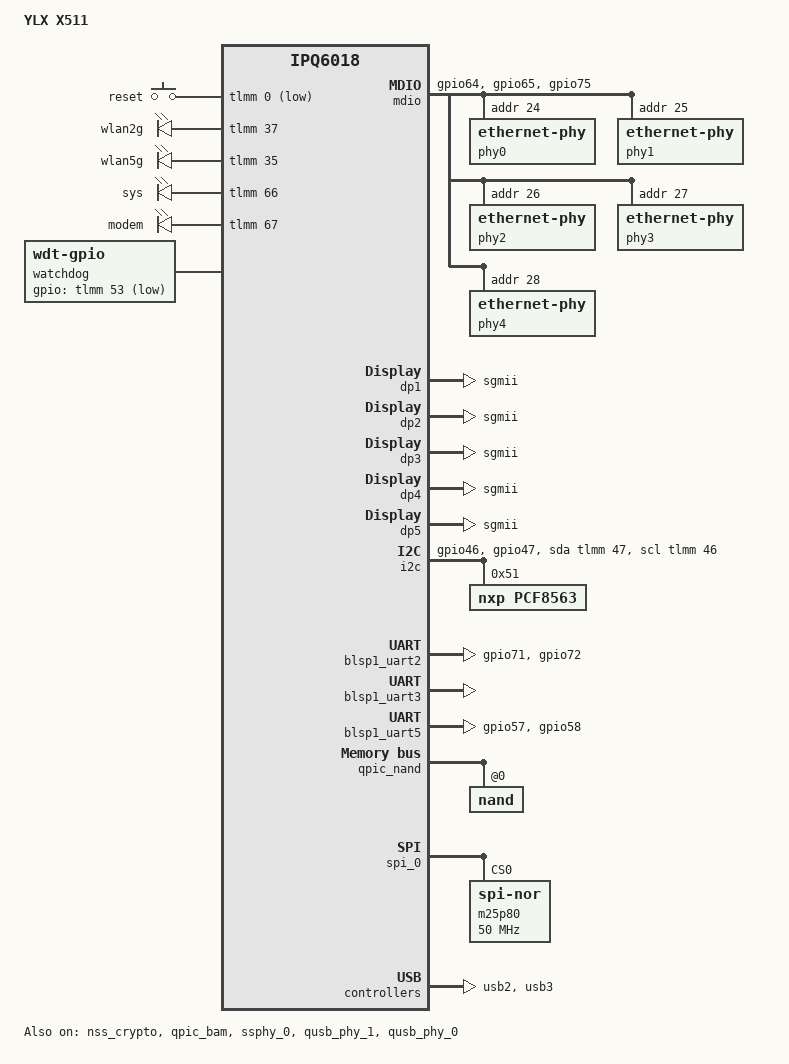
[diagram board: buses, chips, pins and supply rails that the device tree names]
// SPDX-License-Identifier: GPL-2.0-only
/* Copyright (c) 2020 The Linux Foundation. All rights reserved.
 */

/dts-v1/;

#include "ipq6018.dtsi"
#include <dt-bindings/input/input.h>

/ {
	#address-cells = <0x2>;
	#size-cells = <0x2>;
	model = "YLX X511";
	compatible = "ylx,x511", "qcom,ipq6018";
	interrupt-parent = <&intc>;
	qcom,msm-id = <0x1A5 0x0>;

	aliases {
		led-boot = &led_sys;
		led-failsafe = &led_sys;
		led-running = &led_sys;
		led-upgrade = &led_sys;
		serial0 = &blsp1_uart3;
		serial1 = &blsp1_uart2;
		serial2 = &blsp1_uart5;

		ethernet0 = "/soc/dp1";
		ethernet1 = "/soc/dp2";
		ethernet2 = "/soc/dp3";
		ethernet3 = "/soc/dp4";
		ethernet4 = "/soc/dp5";
	};

	chosen {
		stdout-path = "serial0:115200n8";
		bootargs-append = " root=/dev/ubiblock0_1 swiotlb=1 coherent_pool=2M";
	};

	soc {
		mdio:mdio@90000 {
			pinctrl-0 = <&mdio_pins>;
			pinctrl-names = "default";
			phy-reset-gpio = <&tlmm 75 0>;
			status = "ok";

			phy0: ethernet-phy@0 {
				reg = <24>;
			};
			phy1: ethernet-phy@1 {
				reg = <25>;
			};
			phy2: ethernet-phy@2 {
				reg = <26>;
			};
			phy3: ethernet-phy@3 {
				reg = <27>;
			};
			phy4: ethernet-phy@4 {
				reg = <28>;
			};
		};

		ess-switch@3a000000 {
			switch_cpu_bmp = <0x1>;  /* cpu port bitmap */
			switch_lan_bmp = <0x1e>; /* lan port bitmap */
			switch_wan_bmp = <0x20>; /* wan port bitmap */
			switch_inner_bmp = <0xc0>; /*inner port bitmap*/
			switch_mac_mode = <0x0>; /* mac mode for uniphy 0*/
			switch_mac_mode1 = <0xff>; /* mac mode for uniphy 1*/
			switch_mac_mode2 = <0xff>; /* mac mode for uniphy 2*/

			qcom,port_phyinfo {
				port@0 {
					port_id = <1>;
					phy_address = <24>;
				};
				port@1 {
					port_id = <2>;
					phy_address = <25>;
				};
				port@2 {
					port_id = <3>;
					phy_address = <26>;
				};
				port@3 {
					port_id = <4>;
					phy_address = <27>;
				};
				port@4 {
					port_id = <5>;
					phy_address = <28>;
				};
			};
		};

		dp1 {
			device_type = "network";
			compatible = "qcom,nss-dp";
			qcom,id = <1>;
			reg = <0x3a001000 0x200>;
			qcom,mactype = <0>;
			local-mac-address = [000000000000];
			qcom,link-poll = <1>;
			qcom,phy-mdio-addr = <24>;
			phy-mode = "sgmii";
		};

		dp2 {
			device_type = "network";
			compatible = "qcom,nss-dp";
			qcom,id = <2>;
			reg = <0x3a001200 0x200>;
			qcom,mactype = <0>;
			local-mac-address = [000000000000];
			qcom,link-poll = <1>;
			qcom,phy-mdio-addr = <25>;
			phy-mode = "sgmii";
		};

		dp3 {
			device_type = "network";
			compatible = "qcom,nss-dp";
			qcom,id = <3>;
			reg = <0x3a001400 0x200>;
			qcom,mactype = <0>;
			local-mac-address = [000000000000];
			qcom,link-poll = <1>;
			qcom,phy-mdio-addr = <26>;
			phy-mode = "sgmii";
		};

		dp4 {
			device_type = "network";
			compatible = "qcom,nss-dp";
			qcom,id = <4>;
			reg = <0x3a001600 0x200>;
			qcom,mactype = <0>;
			local-mac-address = [000000000000];
			qcom,link-poll = <1>;
			qcom,phy-mdio-addr = <27>;
			phy-mode = "sgmii";
		};

		dp5 {
			device_type = "network";
			compatible = "qcom,nss-dp";
			qcom,id = <5>;
			reg = <0x3a001800 0x200>;
			qcom,mactype = <0>;
			local-mac-address = [000000000000];
			qcom,link-poll = <1>;
			qcom,phy-mdio-addr = <28>;
			phy-mode = "sgmii";
		};

		gpio_keys {
			compatible = "gpio-keys";
			pinctrl-0 = <&button_pins>;
			pinctrl-names = "default";

			reset {
				label = "reset";
				linux,code = <KEY_RESTART>;
				gpios = <&tlmm 0 GPIO_ACTIVE_LOW>;
				linux,input-type = <1>;
				debounce-interval = <60>;
			};
		};

		i2c {
			compatible = "i2c-gpio";
			pinctrl-0 = <&i2c_gpio_pins>;
			#address-cells = <1>;
			#size-cells = <1>;

			sda-gpios = <&tlmm 47 GPIO_ACTIVE_HIGH>;
			scl-gpios = <&tlmm 46 GPIO_ACTIVE_HIGH>;

			pcf8563: pcf8563@51 {
                compatible = "nxp,pcf8563";
                reg = <0x51>;
                #clock-cells = <0>;
        	};
		};

		leds {
			compatible = "gpio-leds";
			pinctrl-0 = <&leds_pins>;
			pinctrl-names = "default";

			wlan2g {
				label = "wlan2g";
				gpios = <&tlmm 37 GPIO_ACTIVE_HIGH>;
			};

			wlan5g {
				label = "wlan5g";
				gpios = <&tlmm 35 GPIO_ACTIVE_HIGH>;
			};

			led_sys: sys {
				label = "sys";
				gpios = <&tlmm 66 GPIO_ACTIVE_HIGH>;
			};

			modem {
				label = "modem";
				gpios = <&tlmm 67 GPIO_ACTIVE_HIGH>;
			};
		};

		watchdog {
			compatible = "linux,wdt-gpio";
			gpios = <&tlmm 53 GPIO_ACTIVE_LOW>;
			pinctrl-0 = <&wdt_pins>;
			pinctrl-names = "default";
			hw_algo = "toggle";
			hw_margin_ms = <1600>;
			always-running;
		};

		sd-pwrseq {
			/delete-property/ reset-gpios;
			status = "disabled";
		};
	};
};

&tlmm {
	i2c_gpio_pins:i2c_gpio_pins {
		scl {
			pins = "gpio46";
			function = "gpio";
			drive-strength = <8>;
			bias-pull-up;
		};
		sda {
			pins = "gpio47";
			function = "gpio";
			drive-strength = <8>;
			bias-pull-up;
		};
	};

	button_pins: button_pins {
		reset_button {
			pins = "gpio0";
			function = "gpio";
			drive-strength = <8>;
			bias-pull-up;
		};
	};

	mdio_pins: mdio_pinmux {
		mux_0 {
			pins = "gpio64";
			function = "mdc";
			drive-strength = <8>;
			bias-pull-up;
		};
		mux_1 {
			pins = "gpio65";
			function = "mdio";
			drive-strength = <8>;
			bias-pull-up;
		};
		mux_2 {
			pins = "gpio75";
			function = "gpio";
			bias-pull-up;
		};
	};

	uart2_pins: uart2_pins {
		mux {
			pins = "gpio71", "gpio72";
			function = "blsp1_uart";
			drive-strength = <8>;
			bias-disable;
		};
	};

	hsuart_pins: hsuart_pins {
		mux {
			pins = "gpio57", "gpio58";
			function = "blsp4_uart";
			drive-strength = <8>;
			bias-disable;
		};
	};

	wdt_pins: wdt_pins {
		mux {
			pins = "gpio53";
			function = "gpio";
			drive-strength = <8>;
			bias-disable;
			output-high;
		};
	};

	leds_pins: leds_pins {
		wlan2g {
			pins = "gpio37";
			function = "gpio";
			drive-strength = <8>;
			bias-pull-down;
		};

		wlan5g {
			pins = "gpio35";
			function = "gpio";
			drive-strength = <8>;
			bias-pull-down;
		};

		sys {
			pins = "gpio66";
			function = "gpio";
			drive-strength = <8>;
			bias-pull-down;
		};

		modem {
			pins = "gpio67";
			function = "gpio";
			drive-strength = <8>;
			bias-pull-down;
		};
	};
};

&blsp1_uart2 {
	pinctrl-0 = <&uart2_pins>;
	pinctrl-names = "default";
	dmas = <&blsp_dma 2>,
		<&blsp_dma 3>;
	dma-names = "tx", "rx";
	status = "ok";
};

&blsp1_uart3 {
	pinctrl-0 = <&serial_3_pins>;
	pinctrl-names = "default";
	status = "ok";
};

&blsp1_uart5 {
	pinctrl-0 = <&hsuart_pins>;
	pinctrl-names = "default";
	dmas = <&blsp_dma 8>,
		<&blsp_dma 9>;
	dma-names = "tx", "rx";
	status = "ok";
};

&nss_crypto {
	status = "ok";
};

&qpic_bam {
	status = "ok";
};

&qpic_nand {
	status = "ok";

	nand@0 {
		reg = <0>;
		#address-cells = <1>;
		#size-cells = <1>;

		nand-ecc-strength = <4>;
		nand-ecc-step-size = <512>;
		nand-bus-width = <8>;
	};
};


&spi_0 {
	cs-select = <0>;
	status = "ok";

	m25p80@0 {
		compatible = "jedec,spi-nor", "n25q128a11";
		#address-cells = <1>;
		#size-cells = <1>;
		reg = <0>;
		spi-max-frequency = <50000000>;
	};
};

&ssphy_0 {
	status = "ok";
};

&qusb_phy_1{
	status = "ok";
};

&qusb_phy_0 {
	status = "ok";
};

&usb2 {
	status = "ok";
};

&usb3 {
	status = "ok";
};


&CPU0 {
	operating-points = <
		/* kHz   uV (fixed) */
		864000   1100000
		1056000  1100000
		1320000  1100000
		1440000  1100000
		1608000  1100000
		1800000  1100000
	>;
	clock-latency = <200000>;
};

&CPU1 {
	operating-points = <
		/* kHz   uV (fixed) */
		864000   1100000
		1056000  1100000
		1320000  1100000
		1440000  1100000
		1608000  1100000
		1800000  1100000
	>;
	clock-latency = <200000>;
};

&CPU2 {
	operating-points = <
		/* kHz   uV (fixed) */
		864000   1100000
		1056000  1100000
		1320000  1100000
		1440000  1100000
		1608000  1100000
		1800000  1100000
	>;
	clock-latency = <200000>;
};

&CPU3 {
	operating-points = <
		/* kHz   uV (fixed) */
		864000   1100000
		1056000  1100000
		1320000  1100000
		1440000  1100000
		1608000  1100000
		1800000  1100000
	>;
	clock-latency = <200000>;
};

&rpm_glink {
	status = "disabled";
};

